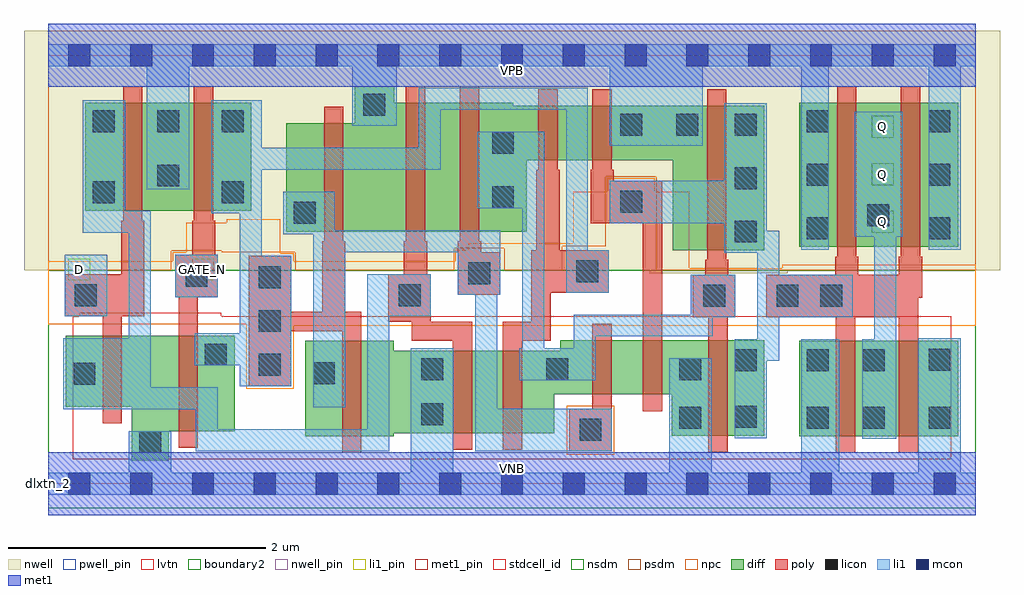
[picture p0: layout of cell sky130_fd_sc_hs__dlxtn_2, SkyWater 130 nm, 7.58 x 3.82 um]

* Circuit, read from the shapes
.subckt sky130_fd_sc_hs__dlxtn_2 D GATE_N Q VGND VNB VPB VPWR
XM1 VGND D n1 VNB sky130_fd_pr__nfet_01v8_lvt w=0.55 l=0.15
XM2 n2 GATE_N VGND VNB sky130_fd_pr__nfet_01v8_lvt w=0.74 l=0.15
XM3 VGND n2 n3 VNB sky130_fd_pr__nfet_01v8_lvt w=0.74 l=0.15
XM4 n4 n1 VGND VNB sky130_fd_pr__nfet_01v8_lvt w=0.64 l=0.15
XM5 n5 n2 n4 VNB sky130_fd_pr__nfet_01v8_lvt w=0.64 l=0.15
XM6 n6 n3 n5 VNB sky130_fd_pr__nfet_01v8_lvt w=0.42 l=0.15
XM7 VGND n7 n6 VNB sky130_fd_pr__nfet_01v8_lvt w=0.42 l=0.15
XM8 n7 n5 VGND VNB sky130_fd_pr__nfet_01v8_lvt w=0.74 l=0.15
XM9 Q n7 VGND VNB sky130_fd_pr__nfet_01v8_lvt w=0.74 l=0.15 m=2
XM10 VPWR D n1 VPB sky130_fd_pr__pfet_01v8 w=0.84 l=0.15
XM11 n2 GATE_N VPWR VPB sky130_fd_pr__pfet_01v8 w=0.84 l=0.15
XM12 VPWR n2 n3 VPB sky130_fd_pr__pfet_01v8 w=0.84 l=0.15
XM13 n8 n1 VPWR VPB sky130_fd_pr__pfet_01v8 w=1 l=0.15
XM14 n5 n3 n8 VPB sky130_fd_pr__pfet_01v8 w=1 l=0.15
XM15 n9 n2 n5 VPB sky130_fd_pr__pfet_01v8 w=0.42 l=0.15
XM16 VPWR n7 n9 VPB sky130_fd_pr__pfet_01v8 w=0.42 l=0.15
XM17 n7 n5 VPWR VPB sky130_fd_pr__pfet_01v8 w=1.12 l=0.15
XM18 Q n7 VPWR VPB sky130_fd_pr__pfet_01v8 w=1.12 l=0.15 m=2
.ends

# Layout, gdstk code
import gdstk
lib = gdstk.Library(unit=1e-6, precision=1e-09)
def R(c, l, rs):  # rectangles x0, y0, x1, y1
    for r in rs: c.add(gdstk.rectangle(r[:2], r[2:], *l))
def A(c, l, x, y, w, h, nx, ny, dx, dy):  # array of equal rectangles
    R(c, l, [(x+i*dx, y+j*dy, x+i*dx+w, y+j*dy+h) for i in range(nx) for j in range(ny)])
def P(c, l, *ps):  # polygons
    for p in ps: c.add(gdstk.Polygon(p, *l))
nwell_pin = (64, 16)
nwell = (64, 20)
diff = (65, 20)
poly = (66, 20)
licon = (66, 44)
li1_pin = (67, 16)
li1 = (67, 20)
mcon = (67, 44)
met1_pin = (68, 16)
met1 = (68, 20)
stdcell_id = (81, 4)
nsdm = (93, 44)
psdm = (94, 20)
npc = (95, 20)
pwell_pin = (122, 16)
lvtn = (125, 44)
boundary2 = (236, 0)

sky130_fd_sc_hs__dlxtn_2 = lib.new_cell('sky130_fd_sc_hs__dlxtn_2')
R(sky130_fd_sc_hs__dlxtn_2, nwell_pin, [(0,3.085,7.2,3.33)])
P(sky130_fd_sc_hs__dlxtn_2, nwell, [(7.39,3.52),(-0.19,3.52),(-0.19,1.66),(4.67,1.66),(4.67,1.635),(5.74,1.635),(5.74,1.66),(7.39,1.66)])
R(sky130_fd_sc_hs__dlxtn_2, diff, [(5.83,0.37,7.065,1.11), (5.83,1.84,7.065,2.96), (0.285,2.12,1.575,2.96)])
P(sky130_fd_sc_hs__dlxtn_2, diff, [(1.445,1.15),(0.135,1.15),(0.135,0.6),(0.645,0.6),(0.645,0.18),(0.935,0.18),(0.935,0.41),(1.445,0.41)],
  [(5.56,2.935),(3.61,2.935),(3.61,2.96),(2.685,2.96),(2.685,3.09),(2.38,3.09),(2.38,2.8),(1.845,2.8),(1.845,1.96),(3.715,1.96),(3.715,2.515),(4.85,2.515),(4.85,1.815),(5.56,1.815)],
  [(5.56,1.115),(3.975,1.115),(3.975,1.035),(2.68,1.035),(2.68,1.11),(1.995,1.11),(1.995,0.37),(2.68,0.37),(2.68,0.395),(3.93,0.395),(3.93,0.695),(4.84,0.695),(4.84,0.375),(5.56,0.375)])
P(sky130_fd_sc_hs__dlxtn_2, poly, [(6.785,1.765),(6.77,1.765),(6.77,3.09),(6.62,3.09),(6.62,1.765),(6.605,1.765),(6.605,1.625),(6.29,1.625),(6.29,1.765),(6.275,1.765),(6.275,3.09),(6.125,3.09),(6.125,1.765),(6.11,1.765),(6.11,1.625),(5.575,1.625),(5.575,1.295),(6.115,1.295),(6.115,0.24),(6.265,0.24),(6.265,1.295),(6.605,1.295),(6.605,0.24),(6.755,0.24),(6.755,1.445),(6.785,1.445)],
  [(5.335,1.625),(5.28,1.625),(5.28,1.74),(5.265,1.74),(5.265,3.065),(5.115,3.065),(5.115,1.74),(5.1,1.74),(5.1,1.625),(5.005,1.625),(5.005,1.295),(5.125,1.295),(5.125,0.245),(5.275,0.245),(5.275,1.295),(5.335,1.295)],
  [(4.765,2.355),(4.39,2.355),(4.39,2.44),(4.375,2.44),(4.375,3.065),(4.225,3.065),(4.225,2.44),(4.21,2.44),(4.21,2.025),(4.615,2.025),(4.615,0.565),(4.765,0.565)],
  [(4.375,1.245),(4.225,1.245),(4.225,0.585),(4.045,0.585),(4.045,0.255),(4.375,0.255)],
  [(4.35,1.815),(3.97,1.815),(3.97,2.44),(3.955,2.44),(3.955,3.065),(3.805,3.065),(3.805,2.44),(3.79,2.44),(3.79,1.815),(3.75,1.815),(3.75,1.26),(3.53,1.26),(3.53,0.265),(3.68,0.265),(3.68,1.11),(3.9,1.11),(3.9,1.485),(4.35,1.485)],
  [(3.51,1.8),(3.36,1.8),(3.36,1.885),(3.345,1.885),(3.345,3.09),(3.195,3.09),(3.195,1.885),(3.18,1.885),(3.18,1.47),(3.51,1.47)],
  [(3.29,1.26),(2.97,1.26),(2.97,1.63),(2.94,1.63),(2.94,1.885),(2.925,1.885),(2.925,3.09),(2.775,3.09),(2.775,1.885),(2.76,1.885),(2.76,1.63),(2.64,1.63),(2.64,1.26),(2.82,1.26),(2.82,1.11),(3.14,1.11),(3.14,0.265),(3.29,0.265)],
  [(2.43,1.335),(2.305,1.335),(2.305,1.885),(2.29,1.885),(2.29,2.93),(2.14,2.93),(2.14,1.885),(2.125,1.885),(2.125,1.335),(1.885,1.335),(1.885,1.77),(1.555,1.77),(1.555,0.76),(1.885,0.76),(1.885,1.185),(2.28,1.185),(2.28,0.24),(2.43,0.24)],
  [(1.315,1.78),(1.295,1.78),(1.295,2.045),(1.28,2.045),(1.28,3.09),(1.13,3.09),(1.13,2.045),(1.115,2.045),(1.115,1.78),(0.985,1.78),(0.985,1.45),(1.01,1.45),(1.01,0.28),(1.16,0.28),(1.16,1.45),(1.315,1.45)],
  [(0.745,2.045),(0.73,2.045),(0.73,3.09),(0.58,3.09),(0.58,2.045),(0.565,2.045),(0.565,1.63),(0.125,1.63),(0.125,1.3),(0.42,1.3),(0.42,0.47),(0.57,0.47),(0.57,1.3),(0.745,1.3)])
A(sky130_fd_sc_hs__dlxtn_2, licon, 1.635, 0.84, 0.17, 0.17, 1, 3, 0, 0.34)
A(sky130_fd_sc_hs__dlxtn_2, licon, 5.33, 1.875, 0.17, 0.17, 1, 3, 0, 0.415)
A(sky130_fd_sc_hs__dlxtn_2, licon, 5.89, 1.9, 0.17, 0.17, 1, 3, 0, 0.415)
A(sky130_fd_sc_hs__dlxtn_2, licon, 6.835, 1.9, 0.17, 0.17, 1, 3, 0, 0.415)
A(sky130_fd_sc_hs__dlxtn_2, licon, 0.345, 2.73, 0.17, 0.17, 3, 1, 0.5, 0)
R(sky130_fd_sc_hs__dlxtn_2, licon, [(0.705,0.24,0.875,0.41), (4.125,0.335,4.295,0.505), (4.9,0.43,5.07,0.6), (5.89,0.43,6.06,0.6), (6.325,0.43,6.495,0.6), (6.835,0.43,7.005,0.6), (5.33,0.435,5.5,0.605), (2.895,0.455,3.065,0.625), (0.195,0.77,0.365,0.94), (2.055,0.775,2.225,0.945), (2.895,0.805,3.065,0.975), (3.865,0.805,4.035,0.975), (4.9,0.805,5.07,0.975), (5.33,0.875,5.5,1.045), (5.89,0.875,6.06,1.045), (6.325,0.875,6.495,1.045), (6.835,0.88,7.005,1.05), (1.215,0.92,1.385,1.09), (5.085,1.375,5.255,1.545), (5.655,1.375,5.825,1.545), (5.995,1.375,6.165,1.545), (0.205,1.38,0.375,1.55), (2.72,1.38,2.89,1.55), (1.065,1.53,1.235,1.7), (3.26,1.55,3.43,1.72), (4.1,1.565,4.27,1.735), (6.36,2,6.53,2.17), (1.905,2.02,2.075,2.19), (4.44,2.105,4.61,2.275), (3.445,2.14,3.615,2.31), (0.345,2.18,0.515,2.35), (1.345,2.18,1.515,2.35), (0.845,2.31,1.015,2.48), (3.445,2.565,3.615,2.735), (4.44,2.705,4.61,2.875), (4.875,2.705,5.045,2.875), (2.445,2.86,2.615,3.03)])
A(sky130_fd_sc_hs__dlxtn_2, li1_pin, 6.395, 1.95, 0.17, 0.17, 1, 3, 0, 0.37)
R(sky130_fd_sc_hs__dlxtn_2, li1_pin, [(0.155,1.58,0.325,1.75), (1.115,1.58,1.285,1.75)])
R(sky130_fd_sc_hs__dlxtn_2, li1, [(0.125,1.3,0.455,1.78), (0.985,1.45,1.315,1.78)])
P(sky130_fd_sc_hs__dlxtn_2, li1, [(0.795,0.75),(1.315,0.75),(1.315,0.425),(2.475,0.425),(2.475,1.63),(2.97,1.63),(2.97,1.3),(2.645,1.3),(2.645,0.255),(1.145,0.255),(1.145,0.58),(0.115,0.58),(0.115,1.13),(0.625,1.13),(0.625,1.95),(0.265,1.95),(0.265,2.98),(0.595,2.98),(0.595,2.12),(0.795,2.12)],
  [(0.765,2.29),(0.765,3.245),(0,3.245),(0,3.415),(7.2,3.415),(7.2,3.245),(7.085,3.245),(7.085,1.82),(6.835,1.82),(6.835,3.245),(6.06,3.245),(6.06,1.82),(5.845,1.82),(5.845,3.245),(5.08,3.245),(5.08,2.625),(4.36,2.625),(4.36,3.245),(2.705,3.245),(2.705,2.78),(2.36,2.78),(2.36,3.245),(1.095,3.245),(1.095,2.29)],
  [(0.625,0.085),(0.625,0.41),(0.955,0.41),(0.955,0.085),(2.815,0.085),(2.815,1.055),(3.145,1.055),(3.145,0.085),(4.82,0.085),(4.82,0.975),(5.15,0.975),(5.15,0.085),(5.845,0.085),(5.845,1.125),(6.14,1.125),(6.14,0.085),(6.755,0.085),(6.755,1.13),(7.085,1.13),(7.085,0.085),(7.2,0.085),(7.2,-0.085),(0,-0.085),(0,0.085)],
  [(4.08,1.315),(4.99,1.315),(4.99,1.625),(5.335,1.625),(5.335,1.295),(5.16,1.295),(5.16,1.145),(4.25,1.145),(4.25,0.805),(3.655,0.805),(3.655,1.055),(3.68,1.055),(3.68,2.14),(3.33,2.14),(3.33,2.735),(3.85,2.735),(3.85,1.055),(4.08,1.055)],
  [(1.265,2.1),(1.265,2.98),(1.655,2.98),(1.655,2.61),(2.875,2.61),(2.875,3.075),(4.19,3.075),(4.19,1.815),(4.35,1.815),(4.35,1.485),(4.02,1.485),(4.02,2.905),(3.045,2.905),(3.045,2.44),(1.655,2.44),(1.655,1.77),(1.885,1.77),(1.885,0.76),(1.485,0.76),(1.485,0.92),(1.135,0.92),(1.135,1.17),(1.485,1.17),(1.485,2.1)],
  [(2.055,1.94),(1.825,1.94),(1.825,2.27),(2.225,2.27),(2.225,1.97),(3.51,1.97),(3.51,1.47),(3.485,1.47),(3.485,0.585),(4.375,0.585),(4.375,0.255),(3.315,0.255),(3.315,1.47),(3.18,1.47),(3.18,1.8),(2.305,1.8),(2.305,0.595),(2.055,0.595)],
  [(5.25,1.795),(5.25,2.025),(4.36,2.025),(4.36,2.355),(5.25,2.355),(5.25,2.955),(5.58,2.955),(5.58,1.965),(5.675,1.965),(5.675,1.625),(6.245,1.625),(6.245,1.295),(5.675,1.295),(5.675,0.955),(5.58,0.955),(5.58,0.355),(5.33,0.355),(5.33,1.125),(5.505,1.125),(5.505,1.795)],
  [(6.635,2.89),(6.635,1.92),(6.585,1.92),(6.585,0.35),(6.32,0.35),(6.32,1.125),(6.415,1.125),(6.415,1.92),(6.26,1.92),(6.26,2.89)])
A(sky130_fd_sc_hs__dlxtn_2, mcon, 0.155, -0.085, 0.17, 0.17, 15, 2, 0.48, 3.33)
R(sky130_fd_sc_hs__dlxtn_2, met1_pin, [(0,0,7.2,0.245), (0,3.085,7.2,3.33)])
R(sky130_fd_sc_hs__dlxtn_2, met1, [(0,-0.245,7.2,0.245), (0,3.085,7.2,3.575)])
R(sky130_fd_sc_hs__dlxtn_2, stdcell_id, [(0,0,7.2,3.33)])
R(sky130_fd_sc_hs__dlxtn_2, nsdm, [(0,-0.19,7.2,1.66)])
P(sky130_fd_sc_hs__dlxtn_2, psdm, [(7.2,3.52),(0,3.52),(0,1.66),(0.955,1.66),(0.955,1.81),(1.345,1.81),(1.345,1.8),(1.915,1.8),(1.915,1.66),(3.15,1.66),(3.15,1.83),(3.54,1.83),(3.54,1.66),(3.99,1.66),(3.99,1.845),(4.33,1.845),(4.33,2.385),(4.72,2.385),(4.72,1.66),(7.2,1.66)])
R(sky130_fd_sc_hs__dlxtn_2, npc, [(4.025,0.225,4.395,0.605)])
P(sky130_fd_sc_hs__dlxtn_2, npc, [(7.2,1.7),(5.7,1.7),(5.7,1.675),(4.975,1.675),(4.975,2.27),(4.71,2.27),(4.71,2.375),(4.34,2.375),(4.34,2.27),(4.075,2.27),(4.075,1.87),(3.265,1.87),(3.265,1.82),(3.16,1.82),(3.16,1.73),(1.905,1.73),(1.905,1.79),(1.8,1.79),(1.8,2.055),(1.385,2.055),(1.385,2.03),(1.07,2.03),(1.07,1.8),(0.965,1.8),(0.965,1.73),(0,1.73),(0,1.24),(1.535,1.24),(1.535,0.74),(1.905,0.74),(1.905,1.23),(7.2,1.23)])
R(sky130_fd_sc_hs__dlxtn_2, pwell_pin, [(0,0,7.2,0.245)])
P(sky130_fd_sc_hs__dlxtn_2, lvtn, [(7.01,1.3),(1.34,1.3),(1.34,1.33),(0.24,1.33),(0.24,1.3),(0.19,1.3),(0.19,0.19),(7.01,0.19)])
R(sky130_fd_sc_hs__dlxtn_2, boundary2, [(0,0,7.2,3.33)])
sky130_fd_sc_hs__dlxtn_2.add(gdstk.Label('dlxtn_2', (0,0), layer=83, texttype=44))
sky130_fd_sc_hs__dlxtn_2.add(gdstk.Label('VNB', (3.6,0.123), layer=64, texttype=59))
sky130_fd_sc_hs__dlxtn_2.add(gdstk.Label('VPB', (3.6,3.208), layer=64, texttype=5))
sky130_fd_sc_hs__dlxtn_2.add(gdstk.Label('VPWR', (3.6,3.208), layer=68, texttype=5))
sky130_fd_sc_hs__dlxtn_2.add(gdstk.Label('VGND', (3.6,0.123), layer=68, texttype=5))
sky130_fd_sc_hs__dlxtn_2.add(gdstk.Label('D', (0.24,1.665), layer=67, texttype=5))
sky130_fd_sc_hs__dlxtn_2.add(gdstk.Label('GATE_N', (1.2,1.665), layer=67, texttype=5))
sky130_fd_sc_hs__dlxtn_2.add(gdstk.Label('Q', (6.48,2.035), layer=67, texttype=5))
sky130_fd_sc_hs__dlxtn_2.add(gdstk.Label('Q', (6.48,2.405), layer=67, texttype=5))
sky130_fd_sc_hs__dlxtn_2.add(gdstk.Label('Q', (6.48,2.775), layer=67, texttype=5))

lib.write_gds('sky130_fd_sc_hs__dlxtn_2.gds')
